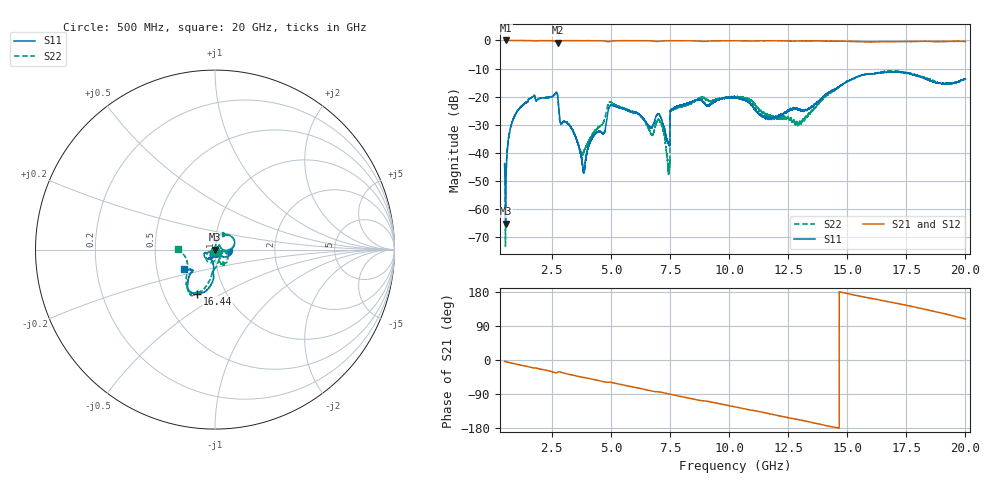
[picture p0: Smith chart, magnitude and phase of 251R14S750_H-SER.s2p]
!{251R14S750}
!Johanson Technology Inc.
!www.johansontechnology.com
!Test Board Conditions:
!Substrate Type  RO4350B
!Substrate Thickness  20 mil
!Substrate Dk  3.66
!TL Type: GCPW
!TL Trace Width  36 mil
!TL Gap  12 mil
!Electrode orientation  Horizontal
!DUT TOPOLOGY	SERIES
!Mounting Pad LxW  26x36 mil
! Created Wed Mar 11 15:52:39 2020
# mhz S ma R 50
! 2 Port Network Data from SP1.SP block
! freq  magS11  angS11  magS21  angS21  magS12  angS12  magS22  angS22
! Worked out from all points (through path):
!   19501 points, 500 MHz to 20 GHz, reference 50 ohm
!   highest |S21| = 0.00 dB at 567 MHz (marker M1); lowest = -0.8 dB at 2.745 GHz (marker M2)
!   group delay of S21, straight-line fit = 34.7 ps
!   lowest |S11| = -65.3 dB at 542 MHz (marker M3), VSWR 1.00, Z = 50 + j0.0469 ohm
!   |S11| at or under -10 dB: start of sweep to end of sweep
!   |S22| runs from -73.3 to -10.8 dB; largest |S21 - S12| = 0.019
!   S11 on the Smith chart (normalised r, x): 500 MHz: 1.00, -0.01; 16.44 GHz: 0.73, -0.39; 20 GHz: 0.69, -0.16
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500  0.006403 -88.1  0.9988 -3.5  0.998 -3.5  0.006312 -87.3
542  0.0005453 59.4  0.9991 -4.2  0.9996 -4.2  0.0009051 72.4
567  0.004373 76.6  0.9998 -4.7  0.9982 -4.7  0.004784 82.0
745  0.02729 81.1  0.998 -7.5  0.9976 -7.5  0.02788 81.4
1100  0.05919 77.0  0.9961 -12.5  0.9963 -12.5  0.06002 76.7
2745  0.1029 6.6  0.9157 -32.3  0.9162 -32.3  0.101 8.2
2897  0.03333 29.6  0.9836 -32.6  0.983 -32.7  0.03234 37.4
3386  0.02485 45.0  0.9948 -40.1  0.9946 -40.1  0.02527 49.5
3750  0.008361 32.2  0.9924 -45.0  0.9929 -45.0  0.009848 9.3
4696  0.02234 -134.8  0.9795 -57.5  0.9792 -57.5  0.03589 -96.7
4969  0.06897 -133.6  0.9644 -58.6  0.9633 -58.6  0.07963 -116.0
6723  0.02787 -122.7  0.9795 -81.9  0.9807 -81.8  0.02096 -141.3
7000  0.04951 -116.6  0.9629 -84.0  0.9629 -84.0  0.03936 -128.2
7403  0.01535 -102.3  0.9879 -88.9  0.9884 -88.9  0.006492 -127.7
7598  0.06015 -10.4  0.9886 -91.5  0.9895 -91.6  0.05705 -8.2
10250  0.09653 -9.6  0.9845 -123.7  0.9861 -123.7  0.09922 -60.5
11707  0.04284 -77.0  0.9873 -141.8  0.9879 -141.8  0.04636 -45.1
12873  0.06072 -124.1  0.9753 -156.5  0.9768 -156.7  0.03552 -38.0
13500  0.06623 -103.0  0.9825 -164.8  0.9824 -164.9  0.0559 -63.2
16440  0.2661 -112.0  0.954 157.4  0.9461 157.4  0.2762 -114.8
16750  0.2716 -116.4  0.9519 153.6  0.9458 153.3  0.2865 -116.4
20000  0.2073 -147.8  0.9624 108.1  0.9629 108.4  0.2064 178.9
